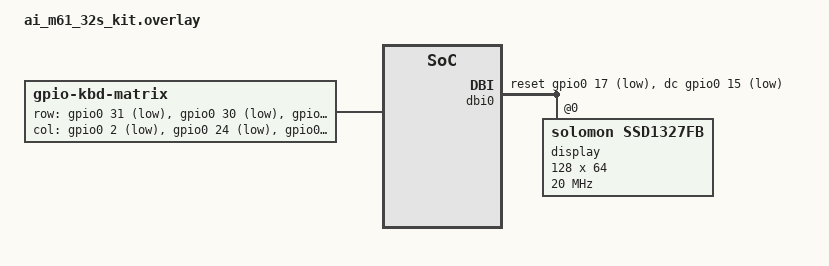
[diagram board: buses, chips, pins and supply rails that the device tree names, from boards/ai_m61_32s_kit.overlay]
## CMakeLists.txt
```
cmake_minimum_required(VERSION 3.20.0)

find_package(Zephyr REQUIRED HINTS $ENV{ZEPHYR_BASE})
project(3d_game_template_demo)

target_sources(app PRIVATE src/main.c)

zephyr_include_directories(include)
```

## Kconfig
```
menu "Zephyr"
source "Kconfig.zephyr"
endmenu

module = DEMO
module-str = DEMO
source "subsys/logging/Kconfig.template.log_config"
```

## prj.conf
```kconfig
CONFIG_DISPLAY=y
CONFIG_LOG=y
CONFIG_L3=y
CONFIG_ENGINE=y
#CONFIG_LOG_DEFAULT_LEVEL=4
CONFIG_HEAP_MEM_POOL_SIZE=4096
CONFIG_INPUT=y
CONFIG_MAIN_STACK_SIZE=4096
CONFIG_TIMING_FUNCTIONS=y
CONFIG_SPEED_OPTIMIZATIONS=y
CONFIG_LOG_PERFORMANCE=n
CONFIG_TEST_RANDOM_GENERATOR=y
CONFIG_TIMER_RANDOM_GENERATOR=y
CONFIG_GPIO=y
#CONFIG_MAX_OBJECTS=2048
#CONFIG_LOG_BUFFER_SIZE=8192

#LVGL
CONFIG_LVGL=y
CONFIG_LV_USE_LOG=y
CONFIG_LV_Z_FLUSH_THREAD=n
CONFIG_LV_Z_MEM_POOL_SIZE=4096
CONFIG_LV_FONT_UNSCII_8=y
CONFIG_LV_CONF_MINIMAL=y
CONFIG_LV_USE_LABEL=y
CONFIG_COMPILER_OPT="-Ofast -ffast-math"
```

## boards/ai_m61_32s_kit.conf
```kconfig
CONFIG_TARGET_PROCESS_FPS=25
CONFIG_TARGET_RENDER_FPS=20
CONFIG_RESOLUTION_X=128
CONFIG_RESOLUTION_Y=64
CONFIG_SSD1327_DEFAULT_CONTRAST=64
CONFIG_SSD1327_CONV_BUFFER_LINES=64
CONFIG_LV_DEF_REFR_PERIOD=5
```

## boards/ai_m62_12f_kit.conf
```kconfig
CONFIG_TARGET_PROCESS_FPS=25
CONFIG_TARGET_RENDER_FPS=100
CONFIG_RESOLUTION_X=128
CONFIG_RESOLUTION_Y=64
```

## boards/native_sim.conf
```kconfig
CONFIG_SDL_DISPLAY_DEFAULT_PIXEL_FORMAT_L_8=y
CONFIG_SDL_DISPLAY_ZOOM_PCT=250
#CONFIG_SDL_DISPLAY_ZOOM_PCT=400
#CONFIG_SDL_DISPLAY_DEFAULT_PIXEL_FORMAT_RGB_565=y
CONFIG_RESOLUTION_X=1024
CONFIG_RESOLUTION_Y=512
CONFIG_TARGET_PROCESS_FPS=30
CONFIG_TARGET_RENDER_FPS=30
CONFIG_SYS_CLOCK_TICKS_PER_SEC=1000
```

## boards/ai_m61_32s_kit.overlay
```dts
#include <zephyr/dt-bindings/input/keymap.h>

// &clk_bclk {
// 	divider = <4>;
// };
//
// &clk_root {
// 	clocks = <&clk_wifipll BL61X_WIFIPLL_OC_480MHz>;
// };
//
// &clk_flash {
// 		clocks = <&clk_bclk>;
// 		// clock-invert;
// 		read-delay = <1>;
// 		divider = <1>;
// 		//rx-clock-invert;
// };

&pinctrl {
	dbi0_default: dbi0_default {
		group1 {
			pinmux = <GPIO12_DBI_C_SCL>,
				 <GPIO14_DBI_C_SDA>;
			drive-strength = <1>;
			input-schmitt-enable;
			bias-pull-down;
		};
	};
};


&dbi0 {
	status = "okay";

	cs-gpios = <&gpio0 16 GPIO_ACTIVE_LOW>;
	dc-gpios = <&gpio0 15 GPIO_ACTIVE_LOW>;
	reset-gpios = <&gpio0 17 GPIO_ACTIVE_LOW>;
	#address-cells = <1>;
	#size-cells = <0>;

	display: ssd1327@0 {
		compatible = "solomon,ssd1327fb";
		mipi-max-frequency = <20000000>;
		reg = <0>;
		width = <128>;
		height = <64>;
		prechargep = <0x5>;
		precharge-voltage = <0x7>;
		remap-value = <0x53>;
		oscillator-freq = <0xA1>;
		display-offset = <0x40>;
		start-line = <0>;
		multiplex-ratio = <0x3f>;
		phase-length = <0x29>;
		mipi-mode = "MIPI_DBI_MODE_SPI_4WIRE";
		grayscale-table = [04 06 08 0A 0C 0D 10 12 14 16 18 1C 20 24 3C];
	};

	dmas = <&dma0 0 0x14>;
	dma-names = "tx";
	pinctrl-names = "default";
	pinctrl-0 = <&dbi0_default>;
};

&spi0 {
	status = "disabled";
};

// &i2c0 {
// 	status = "okay";
// 	
// 	clock-frequency = <I2C_BITRATE_FAST_PLUS>;
// 
// 	display: ssd1306@3c {
// 		compatible = "sinowealth,sh1106";
// 		reg = <0x3c>;
// 		width = <128>;
// 		height = <64>;
// 		segment-offset = <0>;
// 		page-offset = <0>;
// 		display-offset = <0>;
// 		multiplex-ratio = <63>;
// 		segment-remap;
// 		com-invdir;
// 		prechargep = <0x22>;
// 	};	
// };


/ {
	chosen {
		zephyr,display = &display;
	};
};

&gpio0 {
	status = "okay";
};

/ {
	kbd-matrix {
		compatible = "gpio-kbd-matrix";
		row-gpios = <&gpio0 31 (GPIO_PULL_UP | GPIO_ACTIVE_LOW)>,
					<&gpio0 30 (GPIO_PULL_UP | GPIO_ACTIVE_LOW)>,
					<&gpio0 25 (GPIO_PULL_UP | GPIO_ACTIVE_LOW)>,
					<&gpio0 27 (GPIO_PULL_UP | GPIO_ACTIVE_LOW)>,
					<&gpio0 29 (GPIO_PULL_UP | GPIO_ACTIVE_LOW)>;
		col-gpios = <&gpio0 2 GPIO_ACTIVE_LOW>,
					<&gpio0 24 GPIO_ACTIVE_LOW>,
					<&gpio0 28 GPIO_ACTIVE_LOW>,
					<&gpio0 26 GPIO_ACTIVE_LOW>;
		keymap {
			compatible = "input-keymap";
			keymap = <
				MATRIX_KEY(3, 1, INPUT_KEY_W)
				MATRIX_KEY(4, 1, INPUT_KEY_S)
				MATRIX_KEY(4, 0, INPUT_KEY_A)
				MATRIX_KEY(4, 2, INPUT_KEY_D)
				MATRIX_KEY(3, 0, INPUT_KEY_LEFT)
				MATRIX_KEY(3, 2, INPUT_KEY_RIGHT)
				MATRIX_KEY(1, 3, INPUT_KEY_UP)
				MATRIX_KEY(2, 3, INPUT_KEY_DOWN)
				MATRIX_KEY(3, 3, INPUT_KEY_LEFTSHIFT)
				MATRIX_KEY(4, 3, INPUT_KEY_SPACE)
			>;
			row-size = <5>;
			col-size = <4>;
		};
	};
};
```

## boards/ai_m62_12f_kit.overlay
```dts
#include <zephyr/dt-bindings/input/keymap.h>

&clk_bclk {
	divider = <4>;
};

&clk_root {
	clocks = <&clk_wifipll BL61X_WIFIPLL_OC_480MHz>;
};

&clk_flash {
		clocks = <&clk_bclk>;
		// clock-invert;
		read-delay = <1>;
		divider = <1>;
		//rx-clock-invert;
};

#include <dt-bindings/pinctrl/bl616x-pinctrl.h>
#include <zephyr/dt-bindings/i2c/i2c.h>
#include <zephyr/dt-bindings/spi/spi.h>
/*
&pinctrl {
	i2c0_default: i2c0_default {
		group1 {
			pinmux = <GPIO14_I2C0_SCL>, <GPIO15_I2C0_SDA>;
			drive-strength = <2>;
			input-schmitt-enable;
		};
	};
};

&i2c0 {
	ssd1327: ssd1327@3c {
		compatible = "solomon,ssd1327fb";
		reg = <0x3c>;
		width = <128>;
		height = <96>;
		prechargep = <0xf>;
		remap-value = <0x53>;
		oscillator-freq = <0x92>;
		display-offset = <0x20>;
		start-line = <0>;
		multiplex-ratio = <0x05f>;
		phase-length = <0x1f>;
		status="okay";
	};
	status = "okay";

	pinctrl-0 = <&i2c0_default>;
	pinctrl-names = "default";
	clock-frequency = <I2C_BITRATE_FAST_PLUS>;
};
*/

&pinctrl {
	spi0_default: spi0_default {
		group1 {
			pinmux = <GPIO11_SPI_MOSI>, <GPIO14_SPI_MISO>, <GPIO13_SPI_SCLK>;
			drive-strength = <1>;
			input-schmitt-enable;
		};
	};
};

/ {

	mipi_dbi_ssd1327 {
		compatible = "zephyr,mipi-dbi-spi";
		spi-dev = <&spi0>;
		dc-gpios = <&gpio0 15 GPIO_ACTIVE_HIGH>;
		reset-gpios = <&gpio0 1 GPIO_ACTIVE_LOW>;
		write-only;
		#address-cells = <1>;
		#size-cells = <0>;

		ssd1327: ssd1327@0 {
			compatible = "solomon,ssd1327fb";
			mipi-max-frequency = <30000000>;
			reg = <0>;
			width = <128>;
			height = <64>;
			prechargep = <0x5>;
			precharge-voltage = <0x7>;
			remap-value = <0x53>;
			oscillator-freq = <0xA1>;
			display-offset = <0x40>;
			start-line = <0>;
			multiplex-ratio = <0x3f>;
			phase-length = <0x29>;
			mipi-mode = "MIPI_DBI_MODE_SPI_4WIRE";
			grayscale-table = [04 06 08 0A 0C 0D 10 12 14 16 18 1C 20 24 3C];
		};
	};
};

&spi0 {
	status = "okay";
	cs-gpios = <&gpio0 20 GPIO_ACTIVE_LOW>;

	pinctrl-0 = <&spi0_default>;
	pinctrl-names = "default";
};


/ {
	chosen {
		zephyr,display = &ssd1327;
	};
};
&gpio0 {
	status = "okay";
};

/ {
	kbd-matrix {
		compatible = "gpio-kbd-matrix";
		row-gpios = <&gpio0 31 (GPIO_PULL_UP | GPIO_ACTIVE_LOW)>,
					<&gpio0 30 (GPIO_PULL_UP | GPIO_ACTIVE_LOW)>,
					<&gpio0 25 (GPIO_PULL_UP | GPIO_ACTIVE_LOW)>,
					<&gpio0 27 (GPIO_PULL_UP | GPIO_ACTIVE_LOW)>,
					<&gpio0 29 (GPIO_PULL_UP | GPIO_ACTIVE_LOW)>;
		col-gpios = <&gpio0 2 GPIO_ACTIVE_LOW>,
					<&gpio0 24 GPIO_ACTIVE_LOW>,
					<&gpio0 28 GPIO_ACTIVE_LOW>,
					<&gpio0 26 GPIO_ACTIVE_LOW>;
		keymap {
			compatible = "input-keymap";
			keymap = <
				MATRIX_KEY(3, 1, INPUT_KEY_W)
				MATRIX_KEY(4, 1, INPUT_KEY_S)
				MATRIX_KEY(4, 0, INPUT_KEY_A)
				MATRIX_KEY(4, 2, INPUT_KEY_D)
				MATRIX_KEY(3, 0, INPUT_KEY_LEFT)
				MATRIX_KEY(3, 2, INPUT_KEY_RIGHT)
				MATRIX_KEY(1, 3, INPUT_KEY_UP)
				MATRIX_KEY(2, 3, INPUT_KEY_DOWN)
				MATRIX_KEY(4, 3, INPUT_KEY_SPACE)
			>;
			row-size = <5>;
			col-size = <4>;
		};
	};
};
```

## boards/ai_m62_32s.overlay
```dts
#include <zephyr/dt-bindings/input/keymap.h>

&clk_bclk {
	divider = <4>;
};

&clk_root {
	clocks = <&clk_wifipll BL61X_WIFIPLL_OC_480MHz>;
};

&clk_flash {
		clocks = <&clk_bclk>;
		// clock-invert;
		read-delay = <1>;
		divider = <1>;
		//rx-clock-invert;
};

#include <dt-bindings/pinctrl/bl616x-pinctrl.h>
#include <zephyr/dt-bindings/i2c/i2c.h>
#include <zephyr/dt-bindings/spi/spi.h>
/*
&pinctrl {
	i2c0_default: i2c0_default {
		group1 {
			pinmux = <GPIO14_I2C0_SCL>, <GPIO15_I2C0_SDA>;
			drive-strength = <2>;
			input-schmitt-enable;
		};
	};
};

&i2c0 {
	ssd1327: ssd1327@3c {
		compatible = "solomon,ssd1327fb";
		reg = <0x3c>;
		width = <128>;
		height = <96>;
		prechargep = <0xf>;
		remap-value = <0x53>;
		oscillator-freq = <0x92>;
		display-offset = <0x20>;
		start-line = <0>;
		multiplex-ratio = <0x05f>;
		phase-length = <0x1f>;
		status="okay";
	};
	status = "okay";

	pinctrl-0 = <&i2c0_default>;
	pinctrl-names = "default";
	clock-frequency = <I2C_BITRATE_FAST_PLUS>;
};
*/

&pinctrl {
	spi0_default: spi0_default {
		group1 {
			pinmux = <GPIO11_SPI_MOSI>, <GPIO14_SPI_MISO>, <GPIO13_SPI_SCLK>;
			drive-strength = <1>;
			input-schmitt-enable;
		};
	};
};

/ {

	mipi_dbi_ssd1327 {
		compatible = "zephyr,mipi-dbi-spi";
		spi-dev = <&spi0>;
		dc-gpios = <&gpio0 15 GPIO_ACTIVE_HIGH>;
		reset-gpios = <&gpio0 1 GPIO_ACTIVE_LOW>;
		write-only;
		#address-cells = <1>;
		#size-cells = <0>;

		ssd1327: ssd1327@0 {
			compatible = "solomon,ssd1327fb";
			mipi-max-frequency = <30000000>;
			reg = <0>;
			width = <128>;
			height = <64>;
			prechargep = <0xf>;
			precharge-voltage = <0x7>;
			remap-value = <0x53>;
			oscillator-freq = <0x00>;
			display-offset = <0x40>;
			start-line = <0>;
			multiplex-ratio = <0x3f>;
			phase-length = <0xf1>;
			mipi-mode = "MIPI_DBI_MODE_SPI_4WIRE";
			greyscale-table = [00 01 02 04 05 06 07 08 09 0A 0C 0D 10 14 3C];
		};
	};
};

&spi0 {
	status = "okay";
	cs-gpios = <&gpio0 20 GPIO_ACTIVE_LOW>;

	pinctrl-0 = <&spi0_default>;
	pinctrl-names = "default";
};


/ {
	chosen {
		zephyr,display = &ssd1327;
	};
};
&gpio0 {
	status = "okay";
};

/ {
	kbd-matrix {
		compatible = "gpio-kbd-matrix";
		row-gpios = <&gpio0 31 (GPIO_PULL_UP | GPIO_ACTIVE_LOW)>,
					<&gpio0 30 (GPIO_PULL_UP | GPIO_ACTIVE_LOW)>,
					<&gpio0 25 (GPIO_PULL_UP | GPIO_ACTIVE_LOW)>,
					<&gpio0 27 (GPIO_PULL_UP | GPIO_ACTIVE_LOW)>,
					<&gpio0 29 (GPIO_PULL_UP | GPIO_ACTIVE_LOW)>;
		col-gpios = <&gpio0 2 GPIO_ACTIVE_LOW>,
					<&gpio0 24 GPIO_ACTIVE_LOW>,
					<&gpio0 28 GPIO_ACTIVE_LOW>,
					<&gpio0 26 GPIO_ACTIVE_LOW>;
		keymap {
			compatible = "input-keymap";
			keymap = <
				MATRIX_KEY(3, 1, INPUT_KEY_W)
				MATRIX_KEY(4, 1, INPUT_KEY_S)
				MATRIX_KEY(4, 0, INPUT_KEY_A)
				MATRIX_KEY(4, 2, INPUT_KEY_D)
				MATRIX_KEY(3, 0, INPUT_KEY_LEFT)
				MATRIX_KEY(3, 2, INPUT_KEY_RIGHT)
				MATRIX_KEY(1, 3, INPUT_KEY_UP)
				MATRIX_KEY(2, 3, INPUT_KEY_DOWN)
				MATRIX_KEY(4, 3, INPUT_KEY_SPACE)
			>;
			row-size = <5>;
			col-size = <4>;
		};
	};
};
```

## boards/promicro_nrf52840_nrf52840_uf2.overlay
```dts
/ {
	chosen {
		zephyr,display = &ssd1363;
	};

};
/*
&i2c0 {
	status = "okay";
	clock-frequency = <I2C_BITRATE_FAST>;

	ssd1363: ssd1363@3c {
		compatible = "solomon,ssd1363";
		reg = <0x3c>;
		width = <256>;
		height = <128>;
		precharge-period = <0x8>;
		remap-value = <0x3200>;
		oscillator-freq = <0x30>;
		display-offset = <0x20>;
		column-offset = <32>;
		start-line = <0>;
		multiplex-ratio = <127>;
		phase-length = <0x74>;
		precharge-voltage = <0xc>;
		#greyscale-enhancement;
		greyscale-table = [02 04 05 06 07 08 09 0C 10 12 14 16 1E 24 2A];
		#inversion-on;
	};
};
*/


/ {

	mipi_dbi_ssd1363 {
		compatible = "zephyr,mipi-dbi-spi";
		spi-dev = <&spi2>;
		dc-gpios = <&gpio0 24 GPIO_ACTIVE_HIGH>;
		reset-gpios = <&gpio0 22 GPIO_ACTIVE_LOW>;
		write-only;
		#address-cells = <1>;
		#size-cells = <0>;

		ssd1363: ssd1331@0 {
			compatible = "solomon,ssd1363";
			mipi-max-frequency = <20000000>;
			compatible = "solomon,ssd1363";
			reg = <0>;
			width = <256>;
			height = <128>;
			precharge-period = <0x8>;
			remap-value = <0x3200>;
			oscillator-freq = <0x30>;
			display-offset = <0x20>;
			column-offset = <32>;
			start-line = <0>;
			multiplex-ratio = <127>;
			phase-length = <0x74>;
			precharge-voltage = <0xc>;
			greyscale-enhancement;
			greyscale-table = [02 04 05 06 07 08 09 0C 10 12 14 16 1E 24 2A];
			#inversion-on;

			mipi-mode = "MIPI_DBI_MODE_SPI_4WIRE";
		};
	};
};

&spi2 {
	status = "okay";
	cs-gpios = <&gpio0 20 GPIO_ACTIVE_LOW>;
};
```

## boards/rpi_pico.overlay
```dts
/*

/ {
	chosen {
		zephyr,display = &ssd1322;
	};

};
/*
&i2c0 {
	status = "okay";
	clock-frequency = <I2C_BITRATE_FAST_PLUS>;

	ssd1363: ssd1363@3c {
		compatible = "solomon,ssd1363";
		reg = <0x3c>;
		width = <256>;
		height = <128>;
		precharge-period = <0x8>;
		remap-value = <0x3200>;
		oscillator-freq = <0x30>;
		display-offset = <0x20>;
		column-offset = <32>;
		start-line = <0>;
		multiplex-ratio = <127>;
		phase-length = <0x74>;
		precharge-voltage = <0xc>;
		#greyscale-enhancement;
		greyscale-table = [02 04 05 06 07 08 09 0C 10 12 14 16 1E 24 2A];
		#inversion-on;
	};
};
*/
/*
/ {
	chosen {
		zephyr,display = &ssd1322;
	};

};

/ {

	mipi_dbi_ssd1322 {
		compatible = "zephyr,mipi-dbi-spi";
		spi-dev = <&spi0>;
		dc-gpios = <&gpio0 21 GPIO_ACTIVE_HIGH>;
		reset-gpios = <&gpio0 20 GPIO_ACTIVE_LOW>;
		write-only;
		#address-cells = <1>;
		#size-cells = <0>;

		ssd1322: ssd1322@0 {
			compatible = "solomon,ssd1322";
			mipi-max-frequency = <10000000>;
			reg = <0>;
			oscillator-freq = <0x92>;
			width = <256>;
			height = <64>;
			column-offset=<28>;
			row-offset=<0>;
			start-line = <0>;
			mux-ratio = <63>;
			vcomh-voltage = <0x7>;
			precharge-voltage = <0x1e>;
			phase-length = <0xe2>;
			mipi-mode = "MIPI_DBI_MODE_SPI_4WIRE";
			remap-nibble;
			remap-columns;
			greyscale-enhancement;
		};
	};
};

&spi0 {
	status = "okay";
	//cs-gpios = <&gpio0 20 GPIO_ACTIVE_LOW>;
};
*/

/ {
	chosen {
		zephyr,display = &ssd1322;
	};

};

/ {

	mipi_dbi_ssd1322 {
		compatible = "zephyr,mipi-dbi-spi";
		spi-dev = <&spi0>;
		dc-gpios = <&gpio0 21 GPIO_ACTIVE_HIGH>;
		reset-gpios = <&gpio0 20 GPIO_ACTIVE_LOW>;
		write-only;
		#address-cells = <1>;
		#size-cells = <0>;

		ssd1322: ssd1322@0 {
			compatible = "solomon,ssd1322";
			mipi-max-frequency = <20000000>;
			reg = <0>;
			oscillator-freq = <0xE1>;
			precharge-period = <0x8>;
			width = <240>;
			height = <128>;
			column-offset=<0x24>;
			row-offset=<0>;
			start-line = <0>;
			mux-ratio = <127>;
			vcomh-voltage = <0x6>;
			precharge-voltage = <0x1f>;
			phase-length = <0xd2>;
			mipi-mode = "MIPI_DBI_MODE_SPI_4WIRE";
			remap-nibble;
			remap-com-odd-even-split;
		};
	};
};

&spi0 {
	status = "okay";
};
```

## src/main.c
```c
#include <zephyr/kernel.h>
#include <zephyr/device.h>
#include <zephyr/drivers/display.h>
#include <zephyr/input/input.h>
#include <zephyr/timing/timing.h>
#include <stdio.h>
#include <stdlib.h>
#include <zephyr/random/random.h>
#include <math.h>

#include <lvgl.h>

#include <zephyr/logging/log.h>
LOG_MODULE_REGISTER(main);

#define ENGINE_BLIT_FUNCTION blit_display

#include "engine.h"
#include "default_scene.h"
#include "logo_scene.h"

#include "demo.h"

#include "particles/flame.h"

#include "rain.h"
#include "particles/smoke.h"

static const struct device *display_device = DEVICE_DT_GET(DT_CHOSEN(zephyr_display));

int blit_display_L8(L3_COLORTYPE *buffer, uint16_t x, uint16_t y, uint16_t size_x, uint16_t size_y)
{
	struct display_buffer_descriptor buf_desc;
	buf_desc.buf_size = size_x * size_y;
	buf_desc.width = size_x;
	buf_desc.height = size_y;
	buf_desc.pitch = size_x;

	display_write(display_device, x, y, &buf_desc, buffer);

	return 0;
}

int blit_display_MONO(L3_COLORTYPE *buffer, uint16_t x, uint16_t y, uint16_t size_x, uint16_t size_y)
{
	struct display_buffer_descriptor buf_desc;
	uint8_t buf[128] = {0};
	
	if (size_y < 8 || (y & 0x7) != 0 || (size_y & 0x7) != 0) {
		LOG_ERR("Bad position or size");
	}
	
	buf_desc.buf_size = size_x;
	buf_desc.width = size_x;
	buf_desc.height = 8;
	buf_desc.pitch = size_x;

	for (int j = 0; j < size_y; j+= 8) {
		for (int i = 0; i < size_x; i++) {
			buf[i] = buffer[i + (j + 0) * size_x] > 128 ? buf[i] | 1<<0 : buf[i] & ~(1<<0);
			buf[i] = buffer[i + (j + 1) * size_x] > 128 ? buf[i] | 1<<1 : buf[i] & ~(1<<1);
			buf[i] = buffer[i + (j + 2) * size_x] > 128 ? buf[i] | 1<<2 : buf[i] & ~(1<<2);
			buf[i] = buffer[i + (j + 3) * size_x] > 128 ? buf[i] | 1<<3 : buf[i] & ~(1<<3);
			buf[i] = buffer[i + (j + 4) * size_x] > 128 ? buf[i] | 1<<4 : buf[i] & ~(1<<4);
			buf[i] = buffer[i + (j + 5) * size_x] > 128 ? buf[i] | 1<<5 : buf[i] & ~(1<<5);
			buf[i] = buffer[i + (j + 6) * size_x] > 128 ? buf[i] | 1<<6 : buf[i] & ~(1<<6);
			buf[i] = buffer[i + (j + 7) * size_x] > 128 ? buf[i] | 1<<7 : buf[i] & ~(1<<7);
		}
		display_write(display_device, x, j, &buf_desc, buf);
	}

	return 0;
}

int blit_display_MONO_dither(L3_COLORTYPE *buffer, uint16_t x, uint16_t y, uint16_t size_x, uint16_t size_y)
{
	struct display_buffer_descriptor buf_desc;
	uint8_t buf[128] = {0};
	int error = 0;
	
	if (size_y < 8 || (y & 0x7) != 0 || (size_y & 0x7) != 0) {
		LOG_ERR("Bad position or size");
	}
	
	buf_desc.buf_size = size_x;
	buf_desc.width = size_x;
	buf_desc.height = 8;
	buf_desc.pitch = size_x;

#define ERR_THRE 255
#define ERR_MUL 2
	
	for (int j = 0; j < size_y; j+= 8) {
		for (int i = 0; i < size_x; i++) {
			error += buffer[i + (j + 0) * size_x];
			if (error > ERR_THRE) {
				buf[i] |= 1 << 0;
				error -= ERR_THRE * ERR_MUL;
			} else {
				buf[i] &= ~(1<<0);
			}
			error += buffer[i + (j + 1) * size_x];
			if (error > ERR_THRE) {
				buf[i] |= 1 << 1;
				error -= ERR_THRE * ERR_MUL;
			} else {
				buf[i] &= ~(1<<1);
			}
			error += buffer[i + (j + 2) * size_x];
			if (error > ERR_THRE) {
				buf[i] |= 1 << 2;
				error -= ERR_THRE * ERR_MUL;
			} else {
				buf[i] &= ~(1<<2);
			}
			error += buffer[i + (j + 3) * size_x];
			if (error > ERR_THRE) {
				buf[i] |= 1 << 3;
				error -= ERR_THRE * ERR_MUL;
			} else {
				buf[i] &= ~(1<<3);
			}
			error += buffer[i + (j + 4) * size_x];
			if (error > ERR_THRE) {
				buf[i] |= 1 << 4;
				error -= ERR_THRE * ERR_MUL;
			} else {
				buf[i] &= ~(1<<4);
			}
			error += buffer[i + (j + 5) * size_x];
			if (error > ERR_THRE) {
				buf[i] |= 1 << 5;
				error -= ERR_THRE * ERR_MUL;
			} else {
				buf[i] &= ~(1<<5);
			}
			error += buffer[i + (j + 6) * size_x];
			if (error > ERR_THRE) {
				buf[i] |= 1 << 6;
				error -= ERR_THRE * ERR_MUL;
			} else {
				buf[i] &= ~(1<<6);
			}
			error += buffer[i + (j + 7) * size_x];
			if (error > ERR_THRE) {
				buf[i] |= 1 << 7;
				error -= ERR_THRE * ERR_MUL;
			} else {
				buf[i] &= ~(1<<7);
			}
			/* buf[i] = buffer[i + (j + 0) * size_x] > 85 ? buf[i] | 1<<0 : buf[i] & ~(1<<0);
			buf[i] = buffer[i + (j + 0) * size_x] > 170 ? buf[i] | 1<<1 : buf[i] & ~(1<<1);
			buf[i] = buffer[i + (j + 1) * size_x] > 85 ? buf[i] | 1<<2 : buf[i] & ~(1<<2);
			buf[i] = buffer[i + (j + 1) * size_x] > 170 ? buf[i] | 1<<3 : buf[i] & ~(1<<3);
			buf[i] = buffer[i + (j + 2) * size_x] > 85 ? buf[i] | 1<<4 : buf[i] & ~(1<<4);
			buf[i] = buffer[i + (j + 2) * size_x] > 170 ? buf[i] | 1<<5 : buf[i] & ~(1<<5);
			buf[i] = buffer[i + (j + 3) * size_x] > 85 ? buf[i] | 1<<6 : buf[i] & ~(1<<6);
			buf[i] = buffer[i + (j + 3) * size_x] > 170 ? buf[i] | 1<<7 : buf[i] & ~(1<<7); */
		}
		display_write(display_device, x, j, &buf_desc, buf);
	}

	return 0;
}

int blit_display(L3_COLORTYPE *buffer, uint16_t x, uint16_t y, uint16_t size_x, uint16_t size_y)
{
	return blit_display_L8(buffer, x, y, size_x, size_y);
}

void particle_fire(E_Particle *self)
{
	self->transform.translation.y += 24;
	self->transform.scale.x *= 0.96;
	self->transform.scale.y *= 0.96;
}

void particle_rain(E_Particle *self)
{
	self->transform.translation.y -= 256;
	if (self->transform.translation.y < 0) self->life = 1;
}
void particle_smoke(E_Particle *self)
{
	self->transform.translation.y += 24;
	self->transform.scale.x *= 0.98;
	self->transform.scale.y *= 0.98;
}

static Controls controls = {0};

static void process() {
	if (engine_getscene() == &default_scene) {
		struct Default_scene_data *scene_data = (struct Default_scene_data*)default_scene.data;

		/* in a real game this would be in the scene's pf */
		scene_data->controls = controls;
		L3_Transform3D transform;
		transform.scale.x = 192;
		transform.scale.y = 192;
		transform.translation.x = sys_rand8_get() - 128;
		transform.translation.y = 128;
		transform.translation.z = sys_rand8_get() - 128;
		engine_create_particle(transform, &particle_fire, flame.billboard, E_LIFESPAN(0.4));
		transform.translation.x = sys_rand8_get() - 128;
		transform.translation.y = 128;
		transform.translation.z = sys_rand8_get() - 128;
		engine_create_particle(transform, &particle_fire, flame.billboard, E_LIFESPAN(0.4));
		transform.scale.x = 128;
		transform.scale.y = 128;
		transform.translation.x = scene_data->player->visual.transform.translation.x + sys_rand16_get() / 0x10 - 0x7ff;
		transform.translation.y = scene_data->player->visual.transform.translation.y + 3 * L3_F;
		transform.translation.z = scene_data->player->visual.transform.translation.z + sys_rand16_get() / 0x10 - 0x7ff;
		engine_create_particle(transform, &particle_rain, rain.billboard, E_LIFESPAN(0.3));
		transform.translation.x = scene_data->player->visual.transform.translation.x + sys_rand16_get() / 0x10 - 0x7ff;
		transform.translation.z = scene_data->player->visual.transform.translation.z + sys_rand16_get() / 0x10 - 0x7ff;
		engine_create_particle(transform, &particle_rain, rain.billboard, E_LIFESPAN(0.3));
		transform.translation.x = scene_data->player->visual.transform.translation.x + sys_rand16_get() / 0x10 - 0x7ff;
		transform.translation.z = scene_data->player->visual.transform.translation.z + sys_rand16_get() / 0x10 - 0x7ff;
		engine_create_particle(transform, &particle_rain, rain.billboard, E_LIFESPAN(0.3));
		transform.translation.x = scene_data->player->visual.transform.translation.x + sys_rand16_get() / 0x10 - 0x7ff;
		transform.translation.z = scene_data->player->visual.transform.translation.z + sys_rand16_get() / 0x10 - 0x7ff;
		engine_create_particle(transform, &particle_rain, rain.billboard, E_LIFESPAN(0.3));
		transform.translation.x = scene_data->player->visual.transform.translation.x + sys_rand16_get() / 0x10 - 0x7ff;
		transform.translation.z = scene_data->player->visual.transform.translation.z + sys_rand16_get() / 0x10 - 0x7ff;
		engine_create_particle(transform, &particle_rain, rain.billboard, E_LIFESPAN(0.3));
		transform.translation.x = scene_data->player->visual.transform.translation.x + sys_rand16_get() / 0x10 - 0x7ff;
		transform.translation.z = scene_data->player->visual.transform.translation.z + sys_rand16_get() / 0x10 - 0x7ff;
		engine_create_particle(transform, &particle_rain, rain.billboard, E_LIFESPAN(0.3));
		transform.translation.x = scene_data->player->visual.transform.translation.x + sys_rand16_get() / 0x10 - 0x7ff;
		transform.translation.z = scene_data->player->visual.transform.translation.z + sys_rand16_get() / 0x10 - 0x7ff;
		engine_create_particle(transform, &particle_rain, rain.billboard, E_LIFESPAN(0.3));
		transform.translation.x = scene_data->player->visual.transform.translation.x + sys_rand16_get() / 0x10 - 0x7ff;
		transform.translation.z = scene_data->player->visual.transform.translation.z + sys_rand16_get() / 0x10 - 0x7ff;
		engine_create_particle(transform, &particle_rain, rain.billboard, E_LIFESPAN(0.3));
		transform.translation.x = scene_data->player->visual.transform.translation.x + sys_rand16_get() / 0x10 - 0x7ff;
		transform.translation.z = scene_data->player->visual.transform.translation.z + sys_rand16_get() / 0x10 - 0x7ff;
		engine_create_particle(transform, &particle_rain, rain.billboard, E_LIFESPAN(0.3));
		transform.translation.x = scene_data->player->visual.transform.translation.x + sys_rand16_get() / 0x10 - 0x7ff;
		transform.translation.z = scene_data->player->visual.transform.translation.z + sys_rand16_get() / 0x10 - 0x7ff;
		engine_create_particle(transform, &particle_rain, rain.billboard, E_LIFESPAN(0.3));
		transform.translation.x = scene_data->player->visual.transform.translation.x + sys_rand16_get() / 0x10 - 0x7ff;
		transform.translation.z = scene_data->player->visual.transform.translation.z + sys_rand16_get() / 0x10 - 0x7ff;
		engine_create_particle(transform, &particle_rain, rain.billboard, E_LIFESPAN(0.3));
		transform.scale.x = 128;
		transform.scale.y = 128;
		transform.translation.x = sys_rand8_get() - 128;
		transform.translation.y = 512;
		transform.translation.z = sys_rand8_get() - 128;
		engine_create_particle(transform, &particle_smoke, smoke.billboard, E_LIFESPAN(2.0));
	}
}

static void update_controls(struct input_event *evt, void *user_data)
{
	Controls *cont = user_data;

	if (evt->code == INPUT_KEY_UP) {
		if (evt->value)
			cont->vx = 5;
		else
			cont->vx = 0;
	} else if (evt->code == INPUT_KEY_DOWN) {
		if (evt->value)
			cont->vx = -5;
		else
			cont->vx = 0;
	}
	if (evt->code == INPUT_KEY_LEFT) {
		if (evt->value)
			cont->vy = 15;
		else
			cont->vy = 0;
	} else if (evt->code == INPUT_KEY_RIGHT) {
		if (evt->value)
			cont->vy = -15;
		else
			cont->vy = 0;
	}
	if (evt->code == INPUT_KEY_W) {
		if (evt->value)
			cont->z = E_SPEED(3*L3_F);
		else
			cont->z = 0;
	} else if (evt->code == INPUT_KEY_S) {
		if (evt->value)
			cont->z = -E_SPEED(3*L3_F);
		else
			cont->z = 0;
	}

	if (evt->code == INPUT_KEY_A) {
		if (evt->value)
			cont->x = E_SPEED(3*L3_F);
		else
			cont->x = 0;
	} else if (evt->code == INPUT_KEY_D) {
		if (evt->value)
			cont->x = -E_SPEED(3*L3_F);
		else
			cont->x = 0;
	}

	if (evt->code == INPUT_KEY_SPACE) {
		if (evt->value)
			cont->jump = E_SPEED(15*L3_F);
		else
			cont->jump = 0;
	}
}

INPUT_CALLBACK_DEFINE(0, update_controls, &controls);

int main()
{

	for (int i = 0; i < DT_ZEPHYR_DISPLAYS_COUNT; i++) {
		if (!device_is_ready(engine_display_devices[i])) {
			LOG_ERR("Display device %d is not ready", i);
			return -ENODEV;
		}
	}

	timing_init();
	timing_start();

	k_msleep(100);
	display_blanking_on(display_device);
	//display_set_pixel_format(display_device, PIXEL_FORMAT_L_8);
	display_blanking_off(display_device);

	init_engine(&process);

	default_scene.statics = demo_scene;
	default_scene.statics_count = sizeof(demo_scene) / sizeof(*demo_scene);

	engine_switchscene(&logo_scene);
	struct Default_scene_data *scene_data = (struct Default_scene_data*)default_scene.data;
	k_msleep(2000);

	engine_switchscene(&default_scene);
	scene_data->player->visual.transform.translation.z -= L3_F*4;

	/*engine_set_statics(demo_scene, sizeof(demo_scene) / sizeof(*demo_scene));
	engine_statics_enabled(true);*/


	printf("obj cnt: %d\n", engine_object_getcnt() + engine_statics_getcnt());

	return 0;
}
```

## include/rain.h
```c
static const L3_Unit rain_texture[512] = {
0,0,0,0,0,0,0,0,0,0,0,0,0,0,0,0,0,0,0,0,0,0,0,0,0,0,0,0,0,0,0,0,0,0,0,0,0,0,0,1,6,0,0,0,0,0,0,0,0,0,0,0,0,0,0,1,12,1,0,0,0,0,0,0,0,0,0,0,0,0,0,0,17,3,0,0,0,0,0,0,0,0,0,0,0,0,0,1,24,4,0,0,0,0,0,0,0,0,0,0,0,0,0,3,39,6,0,0,0,0,0,0,0,0,0,0,0,0,0,6,54,9,0,0,0,0,0,0,0,0,0,0,0,0,0,8,67,13,0,0,0,0,0,0,0,0,0,0,0,0,0,9,76,16,0,0,0,0,0,0,0,0,0,0,0,0,0,9,83,21,0,0,0,0,0,0,0,0,0,0,0,0,0,9,87,24,0,0,0,0,0,0,0,0,0,0,0,0,0,8,89,27,0,0,0,0,0,0,0,0,0,0,0,0,0,8,91,31,0,0,0,0,0,0,0,0,0,0,0,0,0,7,92,34,0,0,0,0,0,0,0,0,0,0,0,0,0,6,92,37,0,0,0,0,0,0,0,0,0,0,0,0,0,6,91,40,0,0,0,0,0,0,0,0,0,0,0,0,0,5,94,44,0,0,0,0,0,0,0,0,0,0,0,0,0,6,100,49,0,0,0,0,0,0,0,0,0,0,0,0,0,6,109,57,0,0,0,0,0,0,0,0,0,0,0,0,0,9,119,66,0,0,0,0,0,0,0,0,0,0,0,0,0,11,126,74,0,0,0,0,0,0,0,0,0,0,0,0,0,11,131,80,0,0,0,0,0,0,0,0,0,0,0,0,0,12,135,82,0,0,0,0,0,0,0,0,0,0,0,0,0,15,138,82,0,0,0,0,0,0,0,0,0,0,0,0,0,18,142,80,0,0,0,0,0,0,0,0,0,0,0,0,0,18,139,72,0,0,0,0,0,0,0,0,0,0,0,0,0,14,104,45,0,0,0,0,0,0,0,0,0,0,0,0,0,4,37,12,0,0,0,0,0,0,0,0,0,0,0,0,0,0,0,0,0,0,0,0,0,0,0,0,0,0,0,0,0,0,0,0,0,0,0,0,0,0,0,0,0,0,0,0,0,0,0,0,0,0,0,0,0,0,};
static const L3_Billboard rain_billboard = {
.texture = rain_texture,
.width = 16,
.height = 32,
.scale = 512,
.transparency_threshold = 90,
.transparency = 200,
};
static const L3_Object rain = {
.transform.scale.x = L3_F,
.transform.scale.y = L3_F,
.transform.scale.z = L3_F,
.transform.scale.w = 0,
.transform.translation.x = 0,
.transform.translation.y = 0,
.transform.translation.z = 0,
.transform.translation.w = L3_F,
.transform.rotation.x = 0,
.transform.rotation.y = 0,
.transform.rotation.z = 0,
.transform.rotation.w = L3_F,
.billboard = &rain_billboard,
.config.visible = L3_VISIBLE_BILLBOARD,
};
```

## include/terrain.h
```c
#pragma once
static const L3_Unit terrain_vertices[] = {
2559,1536,-5120,
-2560,1536,-5120,
2560,-511,5120,
-2559,-511,5120,
2559,1536,-15360,
-2560,1536,-15360,
};
static const L3_Index terrain_indexes[] = {
1, 2, 0,
0, 5, 1,
1, 3, 2,
0, 4, 5,
};
static const L3_Model3D terrain_model = {
.vertices = terrain_vertices,
.triangleCount = 4,
.vertexCount = 6,
.triangles = terrain_indexes,
};
static const L3_Object terrain = {
.transform.scale.x = L3_F,
.transform.scale.y = L3_F,
.transform.scale.z = L3_F,
.transform.scale.w = 0,
.transform.translation.x = 0,
.transform.translation.y = 0,
.transform.translation.z = 0,
.transform.translation.w = L3_F,
.transform.rotation.x = 0,
.transform.rotation.y = 0,
.transform.rotation.z = 0,
.transform.rotation.w = L3_F,
.config.backfaceCulling = 1,
.config.visible = 2,
.solid_color = 0xFF,
.model = &terrain_model,
};
```

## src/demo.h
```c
#include "building.h"

#include "cat2.h"

#include "models/cube.h"

#include "models/plane.h"

#include "models/sphere.h"

#include "wood.h"

#include "terrain.h"

static const Engine_Object demo_scene[];

static const L3_Vec4 terrain_points[] = {
	{
		.x = 5*L3_F,
		.y = 0,
		.z = 10*L3_F,
	},
	{
		.x = -5*L3_F,
		.y = 0,
		.z = 10*L3_F,
	},
	{
		.x = 5*L3_F,
		.y = 2048,
		.z = -10*L3_F,
	},
	{
		.x = -5*L3_F,
		.y = 2048,
		.z = -10*L3_F,
	},
	{
		.x = 5*L3_F,
		.y = 2048,
		.z = -30*L3_F,
	},
	{
		.x = -5*L3_F,
		.y = 2048,
		.z = -30*L3_F,
	},
};

static const E_Collider demo_scene_colliders[][1] = {
	{
		{
		.axisplane.size.y = 1,
		.axisplane.bouncyness = 0xFF,
		.axisplane.size.x = 1*L3_F,
		.axisplane.size.z = 1*L3_F,
		.type = ENGINE_COLLIDER_APLANEY,
		},
	},
	{
		{
		.cube.size.y = 2.5*L3_F,
		.cube.bouncyness = 128,
		.cube.size.x = 2.5*L3_F,
		.cube.size.z = 4.5*L3_F,
		.type = ENGINE_COLLIDER_CUBE,
		},
	},
	{
		{
		.cube.size.y = 2.5*L3_F,
		.cube.bouncyness = 128,
		.cube.size.x = 2.5*L3_F,
		.cube.size.z = 4.5*L3_F,
		.type = ENGINE_COLLIDER_CUBE,
		},
	},
	{
		{
		.cube.size.y = 2.5*L3_F,
		.cube.bouncyness = 128,
		.cube.size.x = 2.5*L3_F,
		.cube.size.z = 4.5*L3_F,
		.type = ENGINE_COLLIDER_CUBE,
		},
	},
	{
		{
		.cube.size.y = 0.5*L3_F,
		.cube.bouncyness = 128,
		.cube.size.x = 0.5*L3_F,
		.cube.size.z = 0.5*L3_F,
		.type = ENGINE_COLLIDER_CUBE,
		},
	},
	{
		{
		.sphere.bouncyness = 128,
		.sphere.size = 1*L3_F,
		.type = ENGINE_COLLIDER_SPHERE,
		},
	},
	{
		{
		.axisplane.size.y = 1,
		.axisplane.bouncyness = 0xFF,
		.axisplane.size.x = 1*L3_F,
		.axisplane.size.z = 1*L3_F,
		.type = ENGINE_COLLIDER_APLANEY,
		},
	},
	{
		{
		.terrain.bouncyness = 0xFF,
		.terrain.traverseable = true,
		.type = ENGINE_COLLIDER_TERRAIN,
		.terrain.points_cnt = ARRAY_SIZE(terrain_points),
		.terrain.points = terrain_points,
		},
	},
};

static const Engine_Collisions demo_scene_collisions[] = {
	{
		.colliders = demo_scene_colliders[0],
		.colliderCount = 1,
	},
	{
		.colliders = demo_scene_colliders[1],
		.colliderCount = 1,
	},
	{
		.colliders = demo_scene_colliders[2],
		.colliderCount = 1,
	},
	{
		.colliders = demo_scene_colliders[3],
		.colliderCount = 1,
	},
	{
		.colliders = demo_scene_colliders[4],
		.colliderCount = 1,
	},
	{
		.colliders = demo_scene_colliders[5],
		.colliderCount = 1,
	},
	{
		.colliders = demo_scene_colliders[6],
		.colliderCount = 1,
	},
	{
		.colliders = demo_scene_colliders[7],
		.colliderCount = 1,
	},
};

static const Engine_Object demo_scene[] = {
	{
		.visual.model = &plane_model,
		.visual.config.backfaceCulling = 1,
		.visual.config.visible = L3_VISIBLE_WIREFRAME,
		.visual.transform.scale.x = L3_F*1000,
		.visual.transform.scale.y = L3_F,
		.visual.transform.scale.z = L3_F*1000,
		.visual.transform.scale.w = 0,
		.visual.transform.translation.x = 0,
		.visual.transform.translation.y = 0,
		.visual.transform.translation.z = 0,
		.visual.transform.translation.w = L3_F,
		.visual.transform.rotation.x = 0,
		.visual.transform.rotation.y = 0,
		.visual.transform.rotation.z = 0,
		.visual.transform.rotation.w = L3_F,
		.view_range = 8192 * L3_F,
		.visual_type = ENGINE_VISUAL_NOTHING,
		.process = 0,
		.visual.solid_color = 0x80,
		.data = 0,
		.collisions = &(demo_scene_collisions[0]),
	},
	{
		.visual.model = &building_01_model,
		.visual.config.backfaceCulling = 1,
		.visual.config.visible = L3_VISIBLE_TEXTURED,
		.visual.transform.scale.x = L3_F,
		.visual.transform.scale.y = L3_F,
		.visual.transform.scale.z = L3_F,
		.visual.transform.scale.w = 0,
		.visual.transform.translation.x = 0,
		.visual.transform.translation.y = 180,
		.visual.transform.translation.z = 10*L3_F,
		.visual.transform.translation.w = L3_F,
		.visual.transform.rotation.x = 0,
		.visual.transform.rotation.y = 0,
		.visual.transform.rotation.z = 0,
		.visual.transform.rotation.w = L3_F,
		.view_range = 8192 * L3_F,
		.visual_type = ENGINE_VISUAL_MODEL,
		.process = 0,
		.data = 0,
		.collisions = &(demo_scene_collisions[1]),
	},
	{
		.visual.model = &building_01_model,
		.visual.config.backfaceCulling = 1,
		.visual.config.visible = L3_VISIBLE_WIREFRAME,
		.visual.transform.scale.x = L3_F,
		.visual.transform.scale.y = L3_F,
		.visual.transform.scale.z = L3_F,
		.visual.transform.scale.w = 0,
		.visual.transform.translation.x = -10*L3_F,
		.visual.transform.translation.y = 180,
		.visual.transform.translation.z = 10*L3_F,
		.visual.transform.translation.w = L3_F,
		.visual.transform.rotation.x = 0,
		.visual.transform.rotation.y = 0,
		.visual.transform.rotation.z = 0,
		.visual.transform.rotation.w = L3_F,
		.view_range = 8192 * L3_F,
		.visual_type = ENGINE_VISUAL_MODEL,
		.process = 0,
		.visual.solid_color = 0x80,
		.data = 0,
		.collisions = &(demo_scene_collisions[2]),
	},
	{
		.visual.model = &building_01_model,
		.visual.config.backfaceCulling = 1,
		.visual.config.visible = L3_VISIBLE_SOLID,
		.visual.transform.scale.x = L3_F,
		.visual.transform.scale.y = L3_F,
		.visual.transform.scale.z = L3_F,
		.visual.transform.scale.w = 0,
		.visual.transform.translation.x = 10*L3_F,
		.visual.transform.translation.y = 180,
		.visual.transform.translation.z = 10*L3_F,
		.visual.transform.translation.w = L3_F,
		.visual.transform.rotation.x = 0,
		.visual.transform.rotation.y = 0,
		.visual.transform.rotation.z = 0,
		.visual.transform.rotation.w = L3_F,
		.view_range = 8192 * L3_F,
		.visual_type = ENGINE_VISUAL_MODEL,
		.process = 0,
		.data = 0,
		.collisions = &(demo_scene_collisions[3]),
		.visual.solid_color = 0x90,
	},
	{
		.visual.model = &cube_model,
		.visual.config.backfaceCulling = 1,
		.visual.config.visible = L3_VISIBLE_SOLID | L3_VISIBLE_WIREFRAME | L3_VISIBLE_DISTANCELIGHT,
		.visual.transform.scale.x = L3_F,
		.visual.transform.scale.y = L3_F,
		.visual.transform.scale.z = L3_F,
		.visual.transform.scale.w = 0,
		.visual.transform.translation.x = 2*L3_F,
		.visual.transform.translation.y = L3_F,
		.visual.transform.translation.z = 2*L3_F,
		.visual.transform.translation.w = L3_F,
		.visual.transform.rotation.x = 0,
		.visual.transform.rotation.y = 0,
		.visual.transform.rotation.z = 0,
		.visual.transform.rotation.w = L3_F,
		.view_range = 8192 * L3_F,
		.visual_type = ENGINE_VISUAL_MODEL,
		.process = 0,
		.visual.solid_color = 0x90,
		.data = 0,
		.collisions = &(demo_scene_collisions[4]),
	},
	{
		.visual.model = &sphere_model,
		.visual.config.backfaceCulling = 1,
		.visual.config.visible = L3_VISIBLE_WIREFRAME,
		.visual.transform.scale.x = 2*L3_F,
		.visual.transform.scale.y = 2*L3_F,
		.visual.transform.scale.z = 2*L3_F,
		.visual.transform.scale.w = 0,
		.visual.transform.translation.x = 4*L3_F,
		.visual.transform.translation.y = 0,
		.visual.transform.translation.z = 2*L3_F,
		.visual.transform.translation.w = L3_F,
		.visual.transform.rotation.x = 0,
		.visual.transform.rotation.y = 0,
		.visual.transform.rotation.z = 0,
		.visual.transform.rotation.w = L3_F,
		.view_range = 8192 * L3_F,
		.visual_type = ENGINE_VISUAL_MODEL,
		.process = 0,
		.visual.solid_color = 0x90,
		.data = 0,
		.collisions = &(demo_scene_collisions[5]),
	},
	{
		.visual.model = &plane_model,
		.visual.config.backfaceCulling = 0,
		.visual.config.visible = L3_VISIBLE_WIREFRAME,
		.visual.transform.scale.x = L3_F*2,
		.visual.transform.scale.y = L3_F,
		.visual.transform.scale.z = L3_F*2,
		.visual.transform.scale.w = 0,
		.visual.transform.translation.x = -4*L3_F,
		.visual.transform.translation.y = 2*L3_F,
		.visual.transform.translation.z = 2*L3_F,
		.visual.transform.translation.w = L3_F,
		.visual.transform.rotation.x = 0,
		.visual.transform.rotation.y = 0,
		.visual.transform.rotation.z = 0,
		.visual.transform.rotation.w = L3_F,
		.view_range = 8192 * L3_F,
		.visual_type = ENGINE_VISUAL_MODEL,
		.process = 0,
		.visual.solid_color = 0x80,
		.data = 0,
		.collisions = &(demo_scene_collisions[6]),
	},
	{
		.visual.billboard = &cat2_billboard,
		.visual.config.backfaceCulling = 1,
		.visual.config.visible = L3_VISIBLE_BILLBOARD,
		.visual.transform.scale.x = L3_F * 1,
		.visual.transform.scale.y = L3_F * 1,
		.visual.transform.scale.z = L3_F * 1,
		.visual.transform.scale.w = 0,
		.visual.transform.translation.x = 0*L3_F,
		.visual.transform.translation.y = 256,
		.visual.transform.translation.z = 5*L3_F,
		.visual.transform.translation.w = L3_F,
		.visual.transform.rotation.x = 0,
		.visual.transform.rotation.y = 0,
		.visual.transform.rotation.z = 0,
		.visual.transform.rotation.w = L3_F,
		.view_range = 192 * L3_F,
		.visual_type = ENGINE_VISUAL_BILLBOARD,
		.process = 0,
		.data = 0,
		.collisions = 0,
	},
	{
		.visual.model = &wood_model,
		.visual.config.backfaceCulling = 0,
		.visual.config.visible = L3_VISIBLE_SOLID,
		.visual.transform.scale.x = L3_F * 0.25,
		.visual.transform.scale.y = L3_F * 0.25,
		.visual.transform.scale.z = L3_F * 0.25,
		.visual.transform.scale.w = 0,
		.visual.transform.translation.x = 0,
		.visual.transform.translation.y = 0,
		.visual.transform.translation.z = 0,
		.visual.transform.translation.w = L3_F,
		.visual.transform.rotation.x = 0,
		.visual.transform.rotation.y = 0,
		.visual.transform.rotation.z = 0,
		.visual.transform.rotation.w = L3_F,
		.view_range = 8192 * L3_F,
		.visual_type = ENGINE_VISUAL_MODEL,
		.visual.solid_color = 0xA0,
		.process = 0,
		.data = 0,
	},
	{
		.visual.model = &terrain_model,
		.visual.config.backfaceCulling = 0,
		.visual.config.visible = L3_VISIBLE_WIREFRAME,
		.visual.transform.scale.x = L3_F * 1,
		.visual.transform.scale.y = L3_F * 1,
		.visual.transform.scale.z = L3_F * 1,
		.visual.transform.scale.w = 0,
		.visual.transform.translation.x = 0,
		.visual.transform.translation.y = 0,
		.visual.transform.translation.z = -16*L3_F,
		.visual.transform.translation.w = L3_F,
		.visual.transform.rotation.x = 0,
		.visual.transform.rotation.y = 0,
		.visual.transform.rotation.z = 0,
		.visual.transform.rotation.w = L3_F,
		.view_range = 32768 * L3_F,
		.visual_type = ENGINE_VISUAL_MODEL,
		.visual.solid_color = 0xA0,
		.collisions = &(demo_scene_collisions[7]),
		.process = 0,
		.data = 0,
	},
};
```
